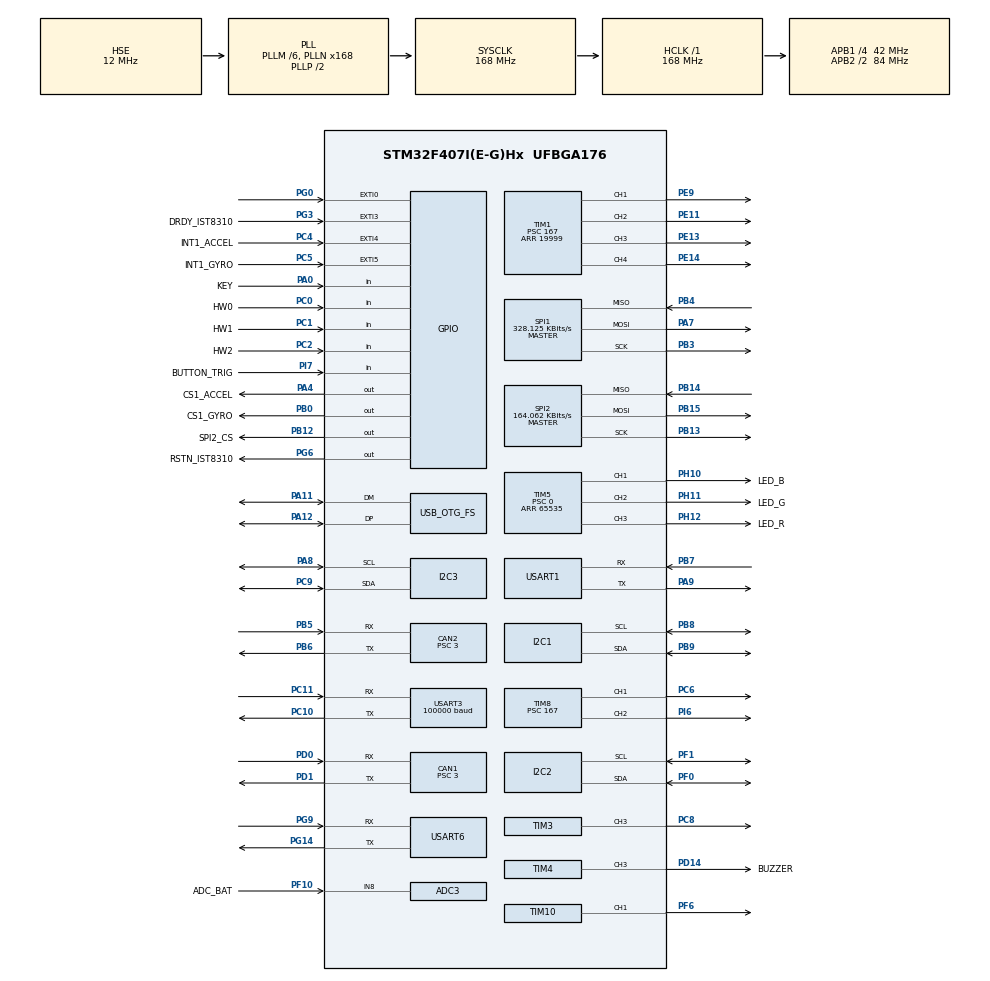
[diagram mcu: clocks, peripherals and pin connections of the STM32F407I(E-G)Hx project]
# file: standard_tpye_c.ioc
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ADC1.Channel-0\#ChannelRegularConversion=ADC_CHANNEL_TEMPSENSOR
ADC1.ClockPrescaler=ADC_CLOCK_SYNC_PCLK_DIV6
ADC1.NbrOfConversionFlag=1
ADC1.Rank-0\#ChannelRegularConversion=1
ADC1.SamplingTime-0\#ChannelRegularConversion=ADC_SAMPLETIME_3CYCLES
ADC1.master=1
ADC3.Channel-0\#ChannelRegularConversion=ADC_CHANNEL_8
ADC3.ClockPrescaler=ADC_CLOCK_SYNC_PCLK_DIV6
ADC3.NbrOfConversionFlag=1
ADC3.Rank-0\#ChannelRegularConversion=1
ADC3.SamplingTime-0\#ChannelRegularConversion=ADC_SAMPLETIME_3CYCLES
CAN1.ABOM=ENABLE
CAN1.BS1=CAN_BS1_10TQ
CAN1.BS2=CAN_BS2_3TQ
CAN1.CalculateTimeQuantum=71.42857142857143
CAN1.Prescaler=3
CAN2.ABOM=ENABLE
CAN2.BS1=CAN_BS1_10TQ
CAN2.BS2=CAN_BS2_3TQ
CAN2.CalculateTimeQuantum=71.42857142857143
CAN2.Prescaler=3
Dma.I2C2_TX.2.Direction=DMA_MEMORY_TO_PERIPH
Dma.I2C2_TX.2.FIFOMode=DMA_FIFOMODE_DISABLE
Dma.I2C2_TX.2.Instance=DMA1_Stream7
Dma.I2C2_TX.2.MemDataAlignment=DMA_MDATAALIGN_BYTE
Dma.I2C2_TX.2.MemInc=DMA_MINC_ENABLE
Dma.I2C2_TX.2.Mode=DMA_NORMAL
Dma.I2C2_TX.2.PeriphDataAlignment=DMA_PDATAALIGN_BYTE
Dma.I2C2_TX.2.PeriphInc=DMA_PINC_DISABLE
Dma.I2C2_TX.2.Priority=DMA_PRIORITY_HIGH
Dma.Request0=SPI1_RX
Dma.Request1=SPI1_TX
Dma.Request2=I2C2_TX
Dma.Request3=USART3_RX
Dma.Request4=USART6_RX
Dma.Request5=USART6_TX
Dma.Request6=USART1_TX
Dma.Request7=USART1_RX
Dma.SPI1_RX.0.Direction=DMA_PERIPH_TO_MEMORY
Dma.SPI1_RX.0.FIFOMode=DMA_FIFOMODE_DISABLE
Dma.SPI1_RX.0.Instance=DMA2_Stream2
Dma.SPI1_RX.0.MemDataAlignment=DMA_MDATAALIGN_BYTE
Dma.SPI1_RX.0.MemInc=DMA_MINC_ENABLE
Dma.SPI1_RX.0.Mode=DMA_NORMAL
Dma.SPI1_RX.0.PeriphDataAlignment=DMA_PDATAALIGN_BYTE
Dma.SPI1_RX.0.PeriphInc=DMA_PINC_DISABLE
Dma.SPI1_RX.0.Priority=DMA_PRIORITY_VERY_HIGH
Dma.SPI1_TX.1.Direction=DMA_MEMORY_TO_PERIPH
Dma.SPI1_TX.1.FIFOMode=DMA_FIFOMODE_DISABLE
Dma.SPI1_TX.1.Instance=DMA2_Stream3
Dma.SPI1_TX.1.MemDataAlignment=DMA_MDATAALIGN_BYTE
Dma.SPI1_TX.1.MemInc=DMA_MINC_ENABLE
Dma.SPI1_TX.1.Mode=DMA_NORMAL
Dma.SPI1_TX.1.PeriphDataAlignment=DMA_PDATAALIGN_BYTE
Dma.SPI1_TX.1.PeriphInc=DMA_PINC_DISABLE
Dma.SPI1_TX.1.Priority=DMA_PRIORITY_HIGH
Dma.USART1_RX.7.Direction=DMA_PERIPH_TO_MEMORY
Dma.USART1_RX.7.FIFOMode=DMA_FIFOMODE_DISABLE
Dma.USART1_RX.7.Instance=DMA2_Stream5
Dma.USART1_RX.7.MemDataAlignment=DMA_MDATAALIGN_BYTE
Dma.USART1_RX.7.MemInc=DMA_MINC_ENABLE
Dma.USART1_RX.7.Mode=DMA_NORMAL
Dma.USART1_RX.7.PeriphDataAlignment=DMA_PDATAALIGN_BYTE
Dma.USART1_RX.7.PeriphInc=DMA_PINC_DISABLE
Dma.USART1_RX.7.Priority=DMA_PRIORITY_HIGH
Dma.USART1_TX.6.Direction=DMA_MEMORY_TO_PERIPH
Dma.USART1_TX.6.FIFOMode=DMA_FIFOMODE_DISABLE
Dma.USART1_TX.6.Instance=DMA2_Stream7
Dma.USART1_TX.6.MemDataAlignment=DMA_MDATAALIGN_BYTE
Dma.USART1_TX.6.MemInc=DMA_MINC_ENABLE
Dma.USART1_TX.6.Mode=DMA_NORMAL
Dma.USART1_TX.6.PeriphDataAlignment=DMA_PDATAALIGN_BYTE
Dma.USART1_TX.6.PeriphInc=DMA_PINC_DISABLE
Dma.USART1_TX.6.Priority=DMA_PRIORITY_MEDIUM
Dma.USART3_RX.3.Direction=DMA_PERIPH_TO_MEMORY
Dma.USART3_RX.3.FIFOMode=DMA_FIFOMODE_DISABLE
Dma.USART3_RX.3.Instance=DMA1_Stream1
Dma.USART3_RX.3.MemDataAlignment=DMA_MDATAALIGN_BYTE
Dma.USART3_RX.3.MemInc=DMA_MINC_ENABLE
Dma.USART3_RX.3.Mode=DMA_NORMAL
Dma.USART3_RX.3.PeriphDataAlignment=DMA_PDATAALIGN_BYTE
Dma.USART3_RX.3.PeriphInc=DMA_PINC_DISABLE
Dma.USART3_RX.3.Priority=DMA_PRIORITY_HIGH
Dma.USART6_RX.4.Direction=DMA_PERIPH_TO_MEMORY
Dma.USART6_RX.4.FIFOMode=DMA_FIFOMODE_DISABLE
Dma.USART6_RX.4.Instance=DMA2_Stream1
Dma.USART6_RX.4.MemDataAlignment=DMA_MDATAALIGN_BYTE
Dma.USART6_RX.4.MemInc=DMA_MINC_ENABLE
Dma.USART6_RX.4.Mode=DMA_NORMAL
Dma.USART6_RX.4.PeriphDataAlignment=DMA_PDATAALIGN_BYTE
Dma.USART6_RX.4.PeriphInc=DMA_PINC_DISABLE
Dma.USART6_RX.4.Priority=DMA_PRIORITY_HIGH
Dma.USART6_TX.5.Direction=DMA_MEMORY_TO_PERIPH
Dma.USART6_TX.5.FIFOMode=DMA_FIFOMODE_DISABLE
Dma.USART6_TX.5.Instance=DMA2_Stream6
Dma.USART6_TX.5.MemDataAlignment=DMA_MDATAALIGN_BYTE
Dma.USART6_TX.5.MemInc=DMA_MINC_ENABLE
Dma.USART6_TX.5.Mode=DMA_NORMAL
Dma.USART6_TX.5.PeriphDataAlignment=DMA_PDATAALIGN_BYTE
Dma.USART6_TX.5.PeriphInc=DMA_PINC_DISABLE
Dma.USART6_TX.5.Priority=DMA_PRIORITY_MEDIUM
FREERTOS.INCLUDE_eTaskGetState=1
FREERTOS.INCLUDE_pcTaskGetTaskName=1
FREERTOS.INCLUDE_uxTaskGetStackHighWaterMark=1
FREERTOS.INCLUDE_vTaskCleanUpResources=1
FREERTOS.INCLUDE_vTaskDelayUntil=1
FREERTOS.INCLUDE_xEventGroupSetBitFromISR=1
FREERTOS.INCLUDE_xQueueGetMutexHolder=1
FREERTOS.INCLUDE_xSemaphoreGetMutexHolder=1
FREERTOS.INCLUDE_xTaskAbortDelay=1
FREERTOS.INCLUDE_xTaskGetCurrentTaskHandle=1
FREERTOS.INCLUDE_xTaskGetHandle=1
FREERTOS.INCLUDE_xTimerPendFunctionCall=1
FREERTOS.Tasks01=test,24,128,test_task,As weak,NULL,Dynamic,NULL,NULL
FREERTOS.configGENERATE_RUN_TIME_STATS=1
FREERTOS.configTOTAL_HEAP_SIZE=24576
FREERTOS.configUSE_STATS_FORMATTING_FUNCTIONS=1
FREERTOS.configUSE_TRACE_FACILITY=1
I2C1.I2C_Mode=I2C_Fast
I2C2.I2C_Mode=I2C_Fast
I2C3.I2C_Mode=I2C_Fast
Mcu.Family=STM32F4
Mcu.Name=STM32F407I(E-G)Hx
Mcu.Package=UFBGA176
NVIC.CAN1_RX0_IRQn=true\:6\:0\:true\:false\:true\:true\:true\:true\:true
NVIC.CAN2_RX1_IRQn=true\:6\:0\:true\:false\:true\:true\:true\:true\:true
NVIC.DMA1_Stream1_IRQn=true\:5\:0\:true\:false\:false\:true\:false\:false\:true
NVIC.DMA1_Stream7_IRQn=true\:5\:0\:true\:false\:false\:true\:false\:true\:true
NVIC.DMA2_Stream1_IRQn=true\:5\:0\:true\:false\:true\:true\:false\:true\:true
NVIC.DMA2_Stream2_IRQn=true\:5\:0\:true\:false\:false\:true\:false\:true\:true
NVIC.DMA2_Stream3_IRQn=true\:5\:0\:true\:false\:false\:true\:false\:true\:true
NVIC.DMA2_Stream5_IRQn=true\:5\:0\:false\:false\:true\:true\:false\:true\:true
NVIC.DMA2_Stream6_IRQn=true\:5\:0\:true\:false\:true\:true\:false\:true\:true
NVIC.DMA2_Stream7_IRQn=true\:5\:0\:true\:false\:true\:true\:false\:true\:true
NVIC.EXTI0_IRQn=true\:6\:0\:true\:false\:true\:true\:true\:true\:true
NVIC.EXTI3_IRQn=true\:5\:0\:true\:false\:true\:true\:true\:true\:true
NVIC.EXTI4_IRQn=true\:5\:0\:true\:false\:true\:true\:true\:true\:true
NVIC.EXTI9_5_IRQn=true\:5\:0\:true\:false\:true\:true\:true\:true\:true
NVIC.OTG_FS_IRQn=true\:5\:0\:false\:false\:true\:true\:false\:true\:true
NVIC.PriorityGroup=NVIC_PRIORITYGROUP_4
NVIC.TIM8_TRG_COM_TIM14_IRQn=true\:5\:0\:false\:false\:true\:true\:true\:true\:true
NVIC.USART1_IRQn=true\:5\:0\:false\:false\:true\:true\:true\:true\:true
NVIC.USART3_IRQn=true\:4\:0\:true\:false\:false\:false\:true\:true\:true
NVIC.USART6_IRQn=true\:5\:0\:true\:false\:false\:true\:true\:true\:true
PA0-WKUP.GPIO_Label=KEY
PA0-WKUP.GPIO_PuPd=GPIO_PULLUP
PA0-WKUP.Signal=GPIO_Input
PA11.Mode=Device_Only
PA11.Signal=USB_OTG_FS_DM
PA12.Mode=Device_Only
PA12.Signal=USB_OTG_FS_DP
PA13.Mode=Serial_Wire
PA13.Signal=SYS_JTMS-SWDIO
PA14.Mode=Serial_Wire
PA14.Signal=SYS_JTCK-SWCLK
PA4.GPIO_Label=CS1_ACCEL
PA4.GPIO_PuPd=GPIO_PULLUP
PA4.GPIO_Speed=GPIO_SPEED_FREQ_HIGH
PA4.PinState=GPIO_PIN_SET
PA4.Signal=GPIO_Output
PA7.GPIO_PuPd=GPIO_PULLUP
PA7.Mode=Full_Duplex_Master
PA7.Signal=SPI1_MOSI
PA8.Mode=I2C
PA8.Signal=I2C3_SCL
PA9.Mode=Asynchronous
PA9.Signal=USART1_TX
PB0.GPIO_Label=CS1_GYRO
PB0.GPIO_PuPd=GPIO_PULLUP
PB0.GPIO_Speed=GPIO_SPEED_FREQ_HIGH
PB0.PinState=GPIO_PIN_SET
PB0.Signal=GPIO_Output
PB12.GPIO_Label=SPI2_CS
PB12.GPIO_PuPd=GPIO_PULLUP
PB12.GPIO_Speed=GPIO_SPEED_FREQ_MEDIUM
PB12.PinState=GPIO_PIN_SET
PB12.Signal=GPIO_Output
PB13.GPIO_PuPd=GPIO_PULLUP
PB13.Mode=Full_Duplex_Master
PB13.Signal=SPI2_SCK
PB14.GPIO_PuPd=GPIO_PULLUP
PB14.Mode=Full_Duplex_Master
PB14.Signal=SPI2_MISO
PB15.GPIO_PuPd=GPIO_PULLUP
PB15.Mode=Full_Duplex_Master
PB15.Signal=SPI2_MOSI
PB3.GPIO_PuPd=GPIO_PULLUP
PB3.Mode=Full_Duplex_Master
PB3.Signal=SPI1_SCK
PB4.GPIO_PuPd=GPIO_PULLUP
PB4.Mode=Full_Duplex_Master
PB4.Signal=SPI1_MISO
PB5.Mode=Slave
PB5.Signal=CAN2_RX
PB6.Mode=Slave
PB6.Signal=CAN2_TX
PB7.Mode=Asynchronous
PB7.Signal=USART1_RX
PB8.Mode=I2C
PB8.Signal=I2C1_SCL
PB9.Mode=I2C
PB9.Signal=I2C1_SDA
PC0.GPIO_Label=HW0
PC0.Signal=GPIO_Input
PC1.GPIO_Label=HW1
PC1.Signal=GPIO_Input
PC10.Mode=Asynchronous
PC10.Signal=USART3_TX
PC11.Mode=Asynchronous
PC11.Signal=USART3_RX
PC2.GPIO_Label=HW2
PC2.Signal=GPIO_Input
PC4.GPIO_Label=INT1_ACCEL
PC4.GPIO_ModeDefaultEXTI=GPIO_MODE_IT_FALLING
PC4.GPIO_PuPd=GPIO_PULLUP
PC4.Signal=GPXTI4
PC5.GPIO_Label=INT1_GYRO
PC5.GPIO_ModeDefaultEXTI=GPIO_MODE_IT_FALLING
PC5.GPIO_PuPd=GPIO_PULLUP
PC5.Signal=GPXTI5
PC6.GPIO_PuPd=GPIO_PULLUP
PC6.GPIO_Speed=GPIO_SPEED_FREQ_HIGH
PC6.Signal=S_TIM8_CH1
PC8.GPIO_PuPd=GPIO_PULLUP
PC8.GPIO_Speed=GPIO_SPEED_FREQ_HIGH
PC8.Signal=S_TIM3_CH3
PC9.Mode=I2C
PC9.Signal=I2C3_SDA
PD0.Mode=Master
PD0.Signal=CAN1_RX
PD1.Mode=Master
PD1.Signal=CAN1_TX
PD14.GPIO_Label=BUZZER
PD14.GPIO_PuPd=GPIO_PULLUP
PD14.GPIO_Speed=GPIO_SPEED_FREQ_VERY_HIGH
PD14.Signal=S_TIM4_CH3
PE11.GPIO_PuPd=GPIO_PULLUP
PE11.GPIO_Speed=GPIO_SPEED_FREQ_HIGH
PE11.Signal=S_TIM1_CH2
PE13.GPIO_PuPd=GPIO_PULLUP
PE13.GPIO_Speed=GPIO_SPEED_FREQ_HIGH
PE13.Signal=S_TIM1_CH3
PE14.GPIO_PuPd=GPIO_PULLUP
PE14.GPIO_Speed=GPIO_SPEED_FREQ_HIGH
PE14.Signal=S_TIM1_CH4
PE9.GPIO_PuPd=GPIO_PULLUP
PE9.GPIO_Speed=GPIO_SPEED_FREQ_HIGH
PE9.Signal=S_TIM1_CH1
PF0.Mode=I2C
PF0.Signal=I2C2_SDA
PF1.Mode=I2C
PF1.Signal=I2C2_SCL
PF10.GPIO_Label=ADC_BAT
PF10.Mode=IN8
PF10.Signal=ADC3_IN8
PF6.GPIO_PuPd=GPIO_PULLUP
PF6.GPIO_Speed=GPIO_SPEED_FREQ_HIGH
PF6.Signal=S_TIM10_CH1
PG0.GPIO_ModeDefaultEXTI=GPIO_MODE_IT_FALLING
PG0.GPIO_PuPd=GPIO_PULLUP
PG0.Signal=GPXTI0
PG14.Mode=Asynchronous
PG14.Signal=USART6_TX
PG3.GPIO_Label=DRDY_IST8310
PG3.GPIO_ModeDefaultEXTI=GPIO_MODE_IT_FALLING
PG3.GPIO_PuPd=GPIO_PULLUP
PG3.Signal=GPXTI3
PG6.GPIO_Label=RSTN_IST8310
PG6.GPIO_PuPd=GPIO_PULLUP
PG6.GPIO_Speed=GPIO_SPEED_FREQ_MEDIUM
PG6.PinState=GPIO_PIN_SET
PG6.Signal=GPIO_Output
PG9.Mode=Asynchronous
PG9.Signal=USART6_RX
PH0-OSC_IN.Mode=HSE-External-Oscillator
PH0-OSC_IN.Signal=RCC_OSC_IN
PH1-OSC_OUT.Mode=HSE-External-Oscillator
PH1-OSC_OUT.Signal=RCC_OSC_OUT
PH10.GPIO_Label=LED_B
PH10.GPIO_PuPd=GPIO_PULLUP
PH10.GPIO_Speed=GPIO_SPEED_FREQ_HIGH
PH10.Signal=S_TIM5_CH1
PH11.GPIO_Label=LED_G
PH11.GPIO_PuPd=GPIO_PULLUP
PH11.GPIO_Speed=GPIO_SPEED_FREQ_HIGH
PH11.Signal=S_TIM5_CH2
PH12.GPIO_Label=LED_R
PH12.GPIO_PuPd=GPIO_PULLUP
PH12.GPIO_Speed=GPIO_SPEED_FREQ_HIGH
PH12.Signal=S_TIM5_CH3
PI6.GPIO_PuPd=GPIO_PULLUP
PI6.GPIO_Speed=GPIO_SPEED_FREQ_HIGH
PI6.Signal=S_TIM8_CH2
PI7.GPIO_Label=BUTTON_TRIG
PI7.GPIO_PuPd=GPIO_PULLUP
PI7.Signal=GPIO_Input
ProjectManager.HeapSize=0x2000
ProjectManager.StackSize=0x2000
ProjectManager.TargetToolchain=MDK-ARM V5
RCC.48MHZClocksFreq_Value=48000000
RCC.AHBFreq_Value=168000000
RCC.APB1CLKDivider=RCC_HCLK_DIV4
RCC.APB1Freq_Value=42000000
RCC.APB1TimFreq_Value=84000000
RCC.APB2CLKDivider=RCC_HCLK_DIV2
RCC.APB2Freq_Value=84000000
RCC.APB2TimFreq_Value=168000000
RCC.CortexFreq_Value=168000000
RCC.HCLKFreq_Value=168000000
RCC.HSE_VALUE=12000000
RCC.HSI_VALUE=16000000
RCC.LSE_VALUE=32768
RCC.PLLM=6
RCC.PLLN=168
RCC.PLLQ=7
RCC.RCC_RTC_Clock_SourceVirtual=RCC_RTCCLKSOURCE_HSE_DIV30
RCC.RCC_RTC_Clock_Source_FROM_HSE=RCC_RTCCLKSOURCE_HSE_DIV30
RCC.SYSCLKFreq_VALUE=168000000
RCC.SYSCLKSource=RCC_SYSCLKSOURCE_PLLCLK
RCC.VCOOutputFreq_Value=336000000
RTC.AsynchPrediv=124
RTC.SynchPrediv=3199
SH.S_TIM10_CH1.0=TIM10_CH1,PWM Generation1 CH1
SH.S_TIM1_CH1.0=TIM1_CH1,PWM Generation1 CH1
SH.S_TIM1_CH2.0=TIM1_CH2,PWM Generation2 CH2
SH.S_TIM1_CH3.0=TIM1_CH3,PWM Generation3 CH3
SH.S_TIM1_CH4.0=TIM1_CH4,PWM Generation4 CH4
SH.S_TIM3_CH3.0=TIM3_CH3,PWM Generation3 CH3
SH.S_TIM4_CH3.0=TIM4_CH3,PWM Generation3 CH3
SH.S_TIM5_CH1.0=TIM5_CH1,PWM Generation1 CH1
SH.S_TIM5_CH2.0=TIM5_CH2,PWM Generation2 CH2
SH.S_TIM5_CH3.0=TIM5_CH3,PWM Generation3 CH3
SH.S_TIM8_CH1.0=TIM8_CH1,PWM Generation1 CH1
SH.S_TIM8_CH2.0=TIM8_CH2,PWM Generation2 CH2
SPI1.BaudRatePrescaler=SPI_BAUDRATEPRESCALER_256
SPI1.CLKPhase=SPI_PHASE_2EDGE
SPI1.CLKPolarity=SPI_POLARITY_HIGH
SPI1.CalculateBaudRate=328.125 KBits/s
SPI1.Direction=SPI_DIRECTION_2LINES
SPI1.Mode=SPI_MODE_MASTER
SPI1.VirtualType=VM_MASTER
SPI2.BaudRatePrescaler=SPI_BAUDRATEPRESCALER_256
SPI2.CLKPhase=SPI_PHASE_2EDGE
SPI2.CLKPolarity=SPI_POLARITY_HIGH
SPI2.CalculateBaudRate=164.062 KBits/s
SPI2.Direction=SPI_DIRECTION_2LINES
SPI2.Mode=SPI_MODE_MASTER
SPI2.VirtualType=VM_MASTER
TIM1.Channel-PWM\ Generation1\ CH1=TIM_CHANNEL_1
TIM1.Channel-PWM\ Generation2\ CH2=TIM_CHANNEL_2
TIM1.Channel-PWM\ Generation3\ CH3=TIM_CHANNEL_3
TIM1.Channel-PWM\ Generation4\ CH4=TIM_CHANNEL_4
TIM1.Period=19999
TIM1.Prescaler=167
TIM1.Pulse-PWM\ Generation1\ CH1=1000
TIM1.Pulse-PWM\ Generation2\ CH2=1000
TIM1.Pulse-PWM\ Generation3\ CH3=1000
TIM1.Pulse-PWM\ Generation4\ CH4=1000
TIM10.Channel=TIM_CHANNEL_1
TIM10.Period=4999
TIM14.Period=49
TIM14.Prescaler=83
TIM3.Channel-PWM\ Generation3\ CH3=TIM_CHANNEL_3
TIM3.Period=8399
TIM4.Channel-PWM\ Generation3\ CH3=TIM_CHANNEL_3
TIM4.Period=65535
TIM4.Prescaler=167
TIM5.Channel-PWM\ Generation1\ CH1=TIM_CHANNEL_1
TIM5.Channel-PWM\ Generation2\ CH2=TIM_CHANNEL_2
TIM5.Channel-PWM\ Generation3\ CH3=TIM_CHANNEL_3
TIM5.Period=65535
TIM5.Prescaler=0
TIM8.Channel-PWM\ Generation1\ CH1=TIM_CHANNEL_1
TIM8.Channel-PWM\ Generation2\ CH2=TIM_CHANNEL_2
TIM8.Period=19999
TIM8.Prescaler=167
TIM8.Pulse-PWM\ Generation1\ CH1=1000
TIM8.Pulse-PWM\ Generation2\ CH2=1000
USART1.VirtualMode=VM_ASYNC
USART3.BaudRate=100000
USART3.Parity=PARITY_EVEN
USART3.VirtualMode=VM_ASYNC
USART6.VirtualMode=VM_ASYNC
USB_DEVICE.CLASS_NAME_FS=CDC
USB_DEVICE.VirtualMode-CDC_FS=Cdc
USB_DEVICE.VirtualModeFS=Cdc_FS
USB_OTG_FS.VirtualMode=Device_Only
VP_ADC1_TempSens_Input.Mode=IN-TempSens
VP_ADC1_Vref_Input.Mode=IN-Vrefint
VP_CRC_VS_CRC.Mode=CRC_Activate
VP_FREERTOS_VS_CMSIS_V1.Mode=CMSIS_V1
VP_RNG_VS_RNG.Mode=RNG_Activate
VP_RTC_VS_RTC_Activate.Mode=RTC_Enabled
VP_TIM10_VS_ClockSourceINT.Mode=Enable_Timer
VP_TIM14_VS_ClockSourceINT.Mode=Enable_Timer
VP_TIM1_VS_ClockSourceINT.Mode=Internal
VP_TIM3_VS_ClockSourceINT.Mode=Internal
VP_TIM4_VS_ClockSourceINT.Mode=Internal
VP_TIM5_VS_ClockSourceINT.Mode=Internal
VP_TIM8_VS_ClockSourceINT.Mode=Internal
VP_USB_DEVICE_VS_USB_DEVICE_CDC_FS.Mode=CDC_FS
board=custom

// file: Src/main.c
/* USER CODE BEGIN Header */
/**
  ******************************************************************************
  * @file           : main.c
  * @brief          : Main program body
  ******************************************************************************
  * @attention
  *
  * <h2><center>&copy; Copyright (c) 2019 STMicroelectronics.
  * All rights reserved.</center></h2>
  *
  * This software component is licensed by ST under Ultimate Liberty license
  * SLA0044, the "License"; You may not use this file except in compliance with
  * the License. You may obtain a copy of the License at:
  *                             www.st.com/SLA0044
  *
  ******************************************************************************
  */
/* USER CODE END Header */

#include "main.h"
#include "cmsis_os.h"
#include "adc.h"
#include "can.h"
#include "crc.h"
#include "dma.h"
#include "i2c.h"
#include "rng.h"
#include "rtc.h"
#include "spi.h"
#include "tim.h"
#include "usart.h"
#include "usb_device.h"
#include "gpio.h"

/* USER CODE BEGIN Includes */
#include "bsp_can.h"
#include "bsp_delay.h"
#include "bsp_usart.h"
#include "remote_control.h"

#include "calibrate_task.h"
#include "chassis_task.h"
#include "detect_task.h"
#include "gimbal_task.h"
#include "INS_task.h"
#include "led_flow_task.h"
#include "oled_task.h"
#include "referee_usart_task.h"
#include "usb_task.h"
#include "voltage_task.h"
#include "SuperCap_comm.h"
#include "usb_task.h"
#include "usb_device.h"
#include "usbd_cdc_if.h"
#include "prog_msg_utility.h"
#include "odometer_task.h"
/* USER CODE END Includes */

void SystemClock_Config(void);
void MX_FREERTOS_Init(void);

int main(void)
{

  /* MCU Configuration--------------------------------------------------------*/

  /* Reset of all peripherals, Initializes the Flash interface and the Systick. */
  HAL_Init();

  /* Configure the system clock */
  SystemClock_Config();

  /* Initialize all configured peripherals */
  MX_GPIO_Init();
  MX_DMA_Init();
  MX_ADC1_Init();
  MX_ADC3_Init();
  MX_CAN1_Init();
  MX_CAN2_Init();
  MX_I2C1_Init();
  MX_SPI1_Init();
  MX_TIM4_Init();
  MX_TIM5_Init();
  MX_USART3_UART_Init();
  MX_TIM8_Init();
  MX_CRC_Init();
  MX_RNG_Init();
  MX_I2C2_Init();
  MX_I2C3_Init();
  MX_RTC_Init();
  MX_SPI2_Init();
  MX_TIM1_Init();
  MX_TIM3_Init();
  MX_TIM10_Init();
  MX_USART1_UART_Init();
  MX_USART6_UART_Init();
  MX_TIM14_Init();
  /* USER CODE BEGIN 2 */
    can_filter_init();
    delay_init();
    cali_param_init();
    remote_control_init();
    usart1_tx_dma_init();

	//SZL 3-27-2022
	superCap_comm_bothway_init();

	//init CPU stats
	init_prog_msg_utility();
  /* USER CODE END 2 */

  /* Call init function for freertos objects (in freertos.c) */
  MX_FREERTOS_Init();

  /* Start scheduler */
  osKernelStart();

  /* We should never get here as control is now taken by the scheduler */

  /* Infinite loop */
  while (1)
  {

  }
}

void SystemClock_Config(void)
{
  RCC_OscInitTypeDef RCC_OscInitStruct = {0};
  RCC_ClkInitTypeDef RCC_ClkInitStruct = {0};
  RCC_PeriphCLKInitTypeDef PeriphClkInitStruct = {0};

  /** Configure the main internal regulator output voltage
  */
  __HAL_RCC_PWR_CLK_ENABLE();
  __HAL_PWR_VOLTAGESCALING_CONFIG(PWR_REGULATOR_VOLTAGE_SCALE1);
  /** Initializes the CPU, AHB and APB busses clocks
  */
  RCC_OscInitStruct.OscillatorType = RCC_OSCILLATORTYPE_HSE;
  RCC_OscInitStruct.HSEState = RCC_HSE_ON;
  RCC_OscInitStruct.PLL.PLLState = RCC_PLL_ON;
  RCC_OscInitStruct.PLL.PLLSource = RCC_PLLSOURCE_HSE;
  RCC_OscInitStruct.PLL.PLLM = 6;
  RCC_OscInitStruct.PLL.PLLN = 168;
  RCC_OscInitStruct.PLL.PLLP = RCC_PLLP_DIV2;
  RCC_OscInitStruct.PLL.PLLQ = 7;
  if (HAL_RCC_OscConfig(&RCC_OscInitStruct) != HAL_OK)
  {
    Error_Handler();
  }
  /** Initializes the CPU, AHB and APB busses clocks
  */
  RCC_ClkInitStruct.ClockType = RCC_CLOCKTYPE_HCLK|RCC_CLOCKTYPE_SYSCLK
                              |RCC_CLOCKTYPE_PCLK1|RCC_CLOCKTYPE_PCLK2;
  RCC_ClkInitStruct.SYSCLKSource = RCC_SYSCLKSOURCE_PLLCLK;
  RCC_ClkInitStruct.AHBCLKDivider = RCC_SYSCLK_DIV1;
  RCC_ClkInitStruct.APB1CLKDivider = RCC_HCLK_DIV4;
  RCC_ClkInitStruct.APB2CLKDivider = RCC_HCLK_DIV2;

  if (HAL_RCC_ClockConfig(&RCC_ClkInitStruct, FLASH_LATENCY_5) != HAL_OK)
  {
    Error_Handler();
  }
  PeriphClkInitStruct.PeriphClockSelection = RCC_PERIPHCLK_RTC;
  PeriphClkInitStruct.RTCClockSelection = RCC_RTCCLKSOURCE_HSE_DIV30;
  if (HAL_RCCEx_PeriphCLKConfig(&PeriphClkInitStruct) != HAL_OK)
  {
    Error_Handler();
  }
}

void Error_Handler(void)
{
}

/************************ (C) COPYRIGHT STMicroelectronics *****END OF FILE****/

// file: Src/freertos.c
/* USER CODE BEGIN Header */
/**
  ******************************************************************************
  * File Name          : freertos.c
  * Description        : Code for freertos applications
  ******************************************************************************
  * @attention
  *
  * <h2><center>&copy; Copyright (c) 2019 STMicroelectronics.
  * All rights reserved.</center></h2>
  *
  * This software component is licensed by ST under Ultimate Liberty license
  * SLA0044, the "License"; You may not use this file except in compliance with
  * the License. You may obtain a copy of the License at:
  *                             www.st.com/SLA0044
  *
  ******************************************************************************
  */
/* USER CODE END Header */

#include "FreeRTOS.h"
#include "task.h"
#include "main.h"
#include "cmsis_os.h"

/* USER CODE BEGIN Includes */

#include "calibrate_task.h"
#include "chassis_task.h"
#include "detect_task.h"
#include "gimbal_task.h"
#include "INS_task.h"
#include "led_flow_task.h"
#include "oled_task.h"
#include "referee_usart_task.h"
#include "usb_task.h"
#include "usb_ano_task.h"
#include "voltage_task.h"
#include "servo_task.h"
#include "referee_interact_task.h"
#include "miniPC_comm_task.h"

/* USER CODE END Includes */

/* USER CODE BEGIN PTD */

osThreadId calibrate_tast_handle;
osThreadId chassisTaskHandle;
osThreadId detect_handle;
osThreadId gimbalTaskHandle;
osThreadId imuTaskHandle;
osThreadId led_RGB_flow_handle;
osThreadId oled_handle;
osThreadId referee_usart_task_handle;

//osThreadId pc_communication_task_handle; //pc_communication_task //separate to 2 tasks
osThreadId embed_receive_Main_communication_task_handle;
osThreadId embed_send_communication_task_handle;

//Created task is either usb_task or usb_ano_task; Never both at the same time
osThreadId usb_task_handle;
//osThreadId usb_ano_task_handle;

osThreadId battery_voltage_handle;
osThreadId servo_task_handle;

osThreadId referee_interact_task_handle;

/* USER CODE END PTD */

osThreadId testHandle;

void test_task(void const * argument);

extern void MX_USB_DEVICE_Init(void);
void MX_FREERTOS_Init(void); /* (MISRA C 2004 rule 8.1) */

/* GetIdleTaskMemory prototype (linked to static allocation support) */
void vApplicationGetIdleTaskMemory( StaticTask_t **ppxIdleTaskTCBBuffer, StackType_t **ppxIdleTaskStackBuffer, uint32_t *pulIdleTaskStackSize );

/* GetTimerTaskMemory prototype (linked to static allocation support) */
void vApplicationGetTimerTaskMemory( StaticTask_t **ppxTimerTaskTCBBuffer, StackType_t **ppxTimerTaskStackBuffer, uint32_t *pulTimerTaskStackSize );

/* Hook prototypes */
void configureTimerForRunTimeStats(void);
unsigned long getRunTimeCounterValue(void);

/* USER CODE BEGIN 1 */
/* Functions needed when configGENERATE_RUN_TIME_STATS is on */
__weak void configureTimerForRunTimeStats(void)
{

}

__weak unsigned long getRunTimeCounterValue(void)
{
return 0;
}
/* USER CODE END 1 */

/* USER CODE BEGIN GET_IDLE_TASK_MEMORY */
static StaticTask_t xIdleTaskTCBBuffer;
static StackType_t xIdleStack[configMINIMAL_STACK_SIZE];

void vApplicationGetIdleTaskMemory( StaticTask_t **ppxIdleTaskTCBBuffer, StackType_t **ppxIdleTaskStackBuffer, uint32_t *pulIdleTaskStackSize )
{
  *ppxIdleTaskTCBBuffer = &xIdleTaskTCBBuffer;
  *ppxIdleTaskStackBuffer = &xIdleStack[0];
  *pulIdleTaskStackSize = configMINIMAL_STACK_SIZE;
  /* place for user code */
}
/* USER CODE END GET_IDLE_TASK_MEMORY */

/* USER CODE BEGIN GET_TIMER_TASK_MEMORY */
static StaticTask_t xTimerTaskTCBBuffer;
static StackType_t xTimerStack[configTIMER_TASK_STACK_DEPTH];

void vApplicationGetTimerTaskMemory( StaticTask_t **ppxTimerTaskTCBBuffer, StackType_t **ppxTimerTaskStackBuffer, uint32_t *pulTimerTaskStackSize )
{
  *ppxTimerTaskTCBBuffer = &xTimerTaskTCBBuffer;
  *ppxTimerTaskStackBuffer = &xTimerStack[0];
  *pulTimerTaskStackSize = configTIMER_TASK_STACK_DEPTH;
  /* place for user code */
}
/* USER CODE END GET_TIMER_TASK_MEMORY */

void MX_FREERTOS_Init(void) {

  /* Create the thread(s) */
  /* definition and creation of test */
  osThreadDef(test, test_task, osPriorityNormal, 0, 128);
  testHandle = osThreadCreate(osThread(test), NULL);

  /* USER CODE BEGIN RTOS_THREADS */
  /* add threads, ... */
    osThreadDef(cali, calibrate_task, osPriorityNormal, 0, 512);
    calibrate_tast_handle = osThreadCreate(osThread(cali), NULL);

    osThreadDef(ChassisTask, chassis_task, osPriorityAboveNormal, 0, 512);
    chassisTaskHandle = osThreadCreate(osThread(ChassisTask), NULL);

    osThreadDef(DETECT, detect_task, osPriorityAboveNormal, 0, 256); // osPriorityNormal <- ԭ��; osPriorityHigh osPriorityAboveNormal
    detect_handle = osThreadCreate(osThread(DETECT), NULL);

    osThreadDef(gimbalTask, gimbal_task, osPriorityHigh, 0, 512);
    gimbalTaskHandle = osThreadCreate(osThread(gimbalTask), NULL);

    osThreadDef(imuTask, INS_task, osPriorityRealtime, 0, 1024);
    imuTaskHandle = osThreadCreate(osThread(imuTask), NULL);

    osThreadDef(led, led_RGB_flow_task, osPriorityNormal, 0, 256);
    led_RGB_flow_handle = osThreadCreate(osThread(led), NULL);

    osThreadDef(OLED, oled_task, osPriorityNormal, 0, 512);//osPriorityLow osPriorityBelowNormal osPriorityNormal osPriorityHigh
    oled_handle = osThreadCreate(osThread(OLED), NULL); //256

    osThreadDef(REFEREE, referee_usart_task, osPriorityNormal, 0, 128);
    referee_usart_task_handle = osThreadCreate(osThread(REFEREE), NULL);

		//pc_communication_task saperate into 2
//		osThreadDef(PCCOMMU, pc_communication_task, osPriorityNormal, 0, 256);
//    pc_communication_task_handle = osThreadCreate(osThread(PCCOMMU), NULL);
		osThreadDef(EMBEDRX, embed_receive_Main_communication_task, osPriorityNormal, 0, 256);
    embed_receive_Main_communication_task_handle = osThreadCreate(osThread(EMBEDRX), NULL);

		osThreadDef(EMBEDTX, embed_send_communication_task, osPriorityNormal, 0, 256);
    embed_send_communication_task_handle = osThreadCreate(osThread(EMBEDTX), NULL);

		//Created task is either usb_task or usb_ano_task; Never both at the same time
    osThreadDef(USBTask, usb_task, osPriorityNormal, 0, 256); //��128��Ϊ512
    usb_task_handle = osThreadCreate(osThread(USBTask), NULL);

//		osThreadDef(USBANOTask, usb_ano_task, osPriorityHigh, 0, 512); //osPriorityNormal osPriorityHigh 128
//    usb_ano_task_handle = osThreadCreate(osThread(USBANOTask), NULL);

    osThreadDef(BATTERY_VOLTAGE, battery_voltage_task, osPriorityNormal, 0, 128);
    battery_voltage_handle = osThreadCreate(osThread(BATTERY_VOLTAGE), NULL);

    osThreadDef(SERVO, servo_task, osPriorityNormal, 0, 128);
    servo_task_handle = osThreadCreate(osThread(SERVO), NULL);
		//10-21֮ǰosPriorityBelowNormal
		osThreadDef(UI, referee_interact_task, osPriorityNormal, 0, 512); //osPriorityBelowNormal osPriorityNormal
		referee_interact_task_handle =  osThreadCreate(osThread(UI), NULL);
  /* USER CODE END RTOS_THREADS */

}

__weak void test_task(void const * argument)
{
  /* init code for USB_DEVICE */
  MX_USB_DEVICE_Init();

  for(;;)
  {
    osDelay(1);
  }
}

/************************ (C) COPYRIGHT STMicroelectronics *****END OF FILE****/
